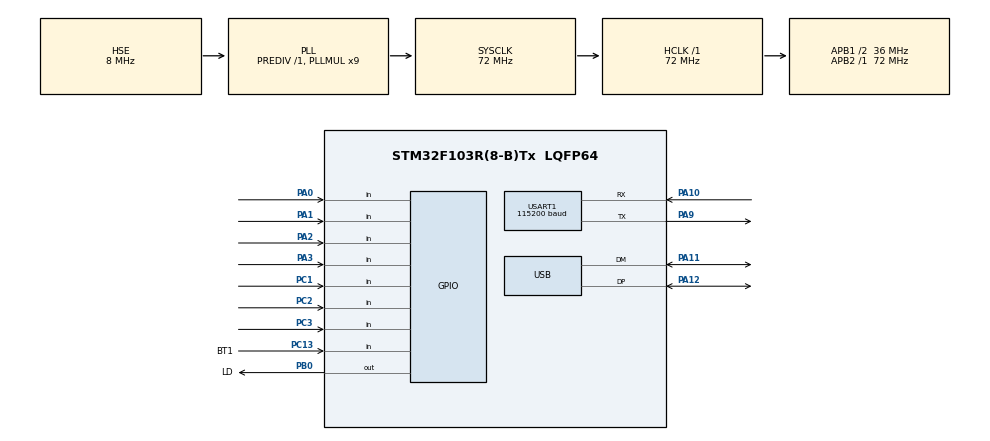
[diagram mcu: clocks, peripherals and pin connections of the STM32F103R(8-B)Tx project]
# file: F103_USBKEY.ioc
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Dma.Request0=USART1_RX
Dma.USART1_RX.0.Direction=DMA_PERIPH_TO_MEMORY
Dma.USART1_RX.0.Instance=DMA1_Channel5
Dma.USART1_RX.0.MemDataAlignment=DMA_MDATAALIGN_BYTE
Dma.USART1_RX.0.MemInc=DMA_MINC_ENABLE
Dma.USART1_RX.0.Mode=DMA_CIRCULAR
Dma.USART1_RX.0.PeriphDataAlignment=DMA_PDATAALIGN_BYTE
Dma.USART1_RX.0.PeriphInc=DMA_PINC_DISABLE
Dma.USART1_RX.0.Priority=DMA_PRIORITY_LOW
FREERTOS.Tasks01=defaultTask,-3,128,StartDefaultTask,Default;myTask02,-3,128,StartTask02,Default
Mcu.Family=STM32F1
Mcu.Name=STM32F103R(8-B)Tx
Mcu.Package=LQFP64
NVIC.DMA1_Channel5_IRQn=true\:5\:0\:false\:false\:true\:true
NVIC.PriorityGroup=NVIC_PRIORITYGROUP_4
NVIC.USB_LP_CAN1_RX0_IRQn=true\:0\:0\:false\:false\:true\:false
PA0-WKUP.Signal=GPIO_Input
PA1.Signal=GPIO_Input
PA10.Mode=Asynchronous
PA10.Signal=USART1_RX
PA11.Mode=Device
PA11.Signal=USB_DM
PA12.Mode=Device
PA12.Signal=USB_DP
PA13.Mode=JTAG_5_pins
PA13.Signal=SYS_JTMS-SWDIO
PA14.Mode=JTAG_5_pins
PA14.Signal=SYS_JTCK-SWCLK
PA15.Mode=JTAG_5_pins
PA15.Signal=SYS_JTDI
PA2.Signal=GPIO_Input
PA3.Signal=GPIO_Input
PA9.Mode=Asynchronous
PA9.Signal=USART1_TX
PB0.GPIO_Label=LD
PB0.Signal=GPIO_Output
PB3.Mode=JTAG_5_pins
PB3.Signal=SYS_JTDO-TRACESWO
PB4.Mode=JTAG_5_pins
PB4.Signal=SYS_NJTRST
PC1.Signal=GPIO_Input
PC13-TAMPER-RTC.GPIO_Label=BT1
PC13-TAMPER-RTC.Signal=GPIO_Input
PC2.Signal=GPIO_Input
PC3.Signal=GPIO_Input
PD0-OSC_IN.Mode=HSE-External-Oscillator
PD0-OSC_IN.Signal=RCC_OSC_IN
PD1-OSC_OUT.Mode=HSE-External-Oscillator
PD1-OSC_OUT.Signal=RCC_OSC_OUT
ProjectManager.HeapSize=0x200
ProjectManager.StackSize=0x400
ProjectManager.TargetToolchain=MDK-ARM V5
RCC.AHBFreq_Value=72000000
RCC.APB1CLKDivider=RCC_HCLK_DIV2
RCC.APB1Freq_Value=36000000
RCC.APB1TimFreq_Value=72000000
RCC.APB2Freq_Value=72000000
RCC.APB2TimFreq_Value=72000000
RCC.HCLKFreq_Value=72000000
RCC.HSIState=RCC_HSI_ON
RCC.PLLMUL=RCC_PLL_MUL9
RCC.SYSCLKFreq_VALUE=72000000
RCC.SYSCLKSource=RCC_SYSCLKSOURCE_PLLCLK
RCC.USBFreq_Value=48000000
RCC.USBPrescaler=RCC_USBCLKSOURCE_PLL_DIV1_5
USART1.BaudRate=115200
USB_DEVICE.PID_HID_FS=0x5710
USB_DEVICE.USBD_HandleTypeDef=hUsbDeviceFS
USB_DEVICE.VID=0x483
USB_DEVICE.VirtualMode=Hid
USB_DEVICE.VirtualModeFS=Hid_FS
VP_FREERTOS_VS_ENABLE.Mode=Enabled
VP_USB_DEVICE_VS_USB_DEVICE_HID_FS.Mode=HID_FS
board=F103_USBKEY

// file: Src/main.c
/**
  ******************************************************************************
  * File Name          : main.c
  * Description        : Main program body
  ******************************************************************************
  *
  * COPYRIGHT(c) 2016 STMicroelectronics
  *
  * Redistribution and use in source and binary forms, with or without modification,
  * are permitted provided that the following conditions are met:
  *   1. Redistributions of source code must retain the above copyright notice,
  *      this list of conditions and the following disclaimer.
  *   2. Redistributions in binary form must reproduce the above copyright notice,
  *      this list of conditions and the following disclaimer in the documentation
  *      and/or other materials provided with the distribution.
  *   3. Neither the name of STMicroelectronics nor the names of its contributors
  *      may be used to endorse or promote products derived from this software
  *      without specific prior written permission.
  *
  * THIS SOFTWARE IS PROVIDED BY THE COPYRIGHT HOLDERS AND CONTRIBUTORS "AS IS"
  * AND ANY EXPRESS OR IMPLIED WARRANTIES, INCLUDING, BUT NOT LIMITED TO, THE
  * IMPLIED WARRANTIES OF MERCHANTABILITY AND FITNESS FOR A PARTICULAR PURPOSE ARE
  * DISCLAIMED. IN NO EVENT SHALL THE COPYRIGHT HOLDER OR CONTRIBUTORS BE LIABLE
  * FOR ANY DIRECT, INDIRECT, INCIDENTAL, SPECIAL, EXEMPLARY, OR CONSEQUENTIAL
  * DAMAGES (INCLUDING, BUT NOT LIMITED TO, PROCUREMENT OF SUBSTITUTE GOODS OR
  * SERVICES; LOSS OF USE, DATA, OR PROFITS; OR BUSINESS INTERRUPTION) HOWEVER
  * CAUSED AND ON ANY THEORY OF LIABILITY, WHETHER IN CONTRACT, STRICT LIABILITY,
  * OR TORT (INCLUDING NEGLIGENCE OR OTHERWISE) ARISING IN ANY WAY OUT OF THE USE
  * OF THIS SOFTWARE, EVEN IF ADVISED OF THE POSSIBILITY OF SUCH DAMAGE.
  *
  ******************************************************************************
  */
#include "stm32f1xx_hal.h"
#include "cmsis_os.h"
#include "usb_device.h"

/* USER CODE BEGIN Includes */
#include "usbd_hid.h"
#include "stdio.h"
/* USER CODE END Includes */

UART_HandleTypeDef huart1;
DMA_HandleTypeDef hdma_usart1_rx;

osThreadId defaultTaskHandle;
osThreadId myTask02Handle;

/* USER CODE BEGIN PV */
/* Private variables ---------------------------------------------------------*/

/* USER CODE END PV */

void SystemClock_Config(void);
void Error_Handler(void);
static void MX_GPIO_Init(void);
static void MX_DMA_Init(void);
static void MX_USART1_UART_Init(void);
void StartDefaultTask(void const * argument);
void StartTask02(void const * argument);

/* USER CODE BEGIN PFP */
/* Private function prototypes -----------------------------------------------*/
#ifdef __GNUC__
#define PUTCHAR_PROTOTYPE int __io_putchar(int ch)
#else
#define PUTCHAR_PROTOTYPE int fputc(int ch, FILE *f)
#endif /* __GNUC__ */
PUTCHAR_PROTOTYPE
{
	  huart1.Instance->DR=(uint8_t )ch;
//	HAL_UART_Transmit(&huart1 , (uint8_t *)&ch, 1, 0xFFFF);
	osDelay(1);//等待1毫秒
	return ch;
}
/* USER CODE END PFP */

/* USER CODE BEGIN 0 */
uint8_t rx_buf[100]={0};//串口缓存
/* USER CODE END 0 */

int main(void)
{

  /* MCU Configuration----------------------------------------------------------*/

  /* Reset of all peripherals, Initializes the Flash interface and the Systick. */
  HAL_Init();

  /* Configure the system clock */
  SystemClock_Config();

  /* Initialize all configured peripherals */
  MX_GPIO_Init();
  MX_DMA_Init();
  MX_USART1_UART_Init();

  /* USER CODE BEGIN 2 */
	HAL_UART_Receive_DMA(&huart1,rx_buf,100);
  /* USER CODE END 2 */

  /* Create the thread(s) */
  /* definition and creation of defaultTask */
  osThreadDef(defaultTask, StartDefaultTask, osPriorityIdle, 0, 128);
  defaultTaskHandle = osThreadCreate(osThread(defaultTask), NULL);

  /* definition and creation of myTask02 */
  osThreadDef(myTask02, StartTask02, osPriorityIdle, 0, 128);
  myTask02Handle = osThreadCreate(osThread(myTask02), NULL);

  /* Start scheduler */
  osKernelStart();

  /* We should never get here as control is now taken by the scheduler */

  /* Infinite loop */
  while (1)
  {

  }

}

/** System Clock Configuration
*/
void SystemClock_Config(void)
{

  RCC_OscInitTypeDef RCC_OscInitStruct;
  RCC_ClkInitTypeDef RCC_ClkInitStruct;
  RCC_PeriphCLKInitTypeDef PeriphClkInit;

  RCC_OscInitStruct.OscillatorType = RCC_OSCILLATORTYPE_HSE;
  RCC_OscInitStruct.HSEState = RCC_HSE_ON;
  RCC_OscInitStruct.HSEPredivValue = RCC_HSE_PREDIV_DIV1;
  RCC_OscInitStruct.PLL.PLLState = RCC_PLL_ON;
  RCC_OscInitStruct.PLL.PLLSource = RCC_PLLSOURCE_HSE;
  RCC_OscInitStruct.PLL.PLLMUL = RCC_PLL_MUL9;
  if (HAL_RCC_OscConfig(&RCC_OscInitStruct) != HAL_OK)
  {
    Error_Handler();
  }

  RCC_ClkInitStruct.ClockType = RCC_CLOCKTYPE_HCLK|RCC_CLOCKTYPE_SYSCLK
                              |RCC_CLOCKTYPE_PCLK1|RCC_CLOCKTYPE_PCLK2;
  RCC_ClkInitStruct.SYSCLKSource = RCC_SYSCLKSOURCE_PLLCLK;
  RCC_ClkInitStruct.AHBCLKDivider = RCC_SYSCLK_DIV1;
  RCC_ClkInitStruct.APB1CLKDivider = RCC_HCLK_DIV2;
  RCC_ClkInitStruct.APB2CLKDivider = RCC_HCLK_DIV1;
  if (HAL_RCC_ClockConfig(&RCC_ClkInitStruct, FLASH_LATENCY_2) != HAL_OK)
  {
    Error_Handler();
  }

  PeriphClkInit.PeriphClockSelection = RCC_PERIPHCLK_USB;
  PeriphClkInit.UsbClockSelection = RCC_USBCLKSOURCE_PLL_DIV1_5;
  if (HAL_RCCEx_PeriphCLKConfig(&PeriphClkInit) != HAL_OK)
  {
    Error_Handler();
  }

  HAL_SYSTICK_Config(HAL_RCC_GetHCLKFreq()/1000);

  HAL_SYSTICK_CLKSourceConfig(SYSTICK_CLKSOURCE_HCLK);

  /* SysTick_IRQn interrupt configuration */
  HAL_NVIC_SetPriority(SysTick_IRQn, 15, 0);
}

/* USART1 init function */
static void MX_USART1_UART_Init(void)
{

  huart1.Instance = USART1;
  huart1.Init.BaudRate = 19200;
  huart1.Init.WordLength = UART_WORDLENGTH_8B;
  huart1.Init.StopBits = UART_STOPBITS_1;
  huart1.Init.Parity = UART_PARITY_NONE;
  huart1.Init.Mode = UART_MODE_TX_RX;
  huart1.Init.HwFlowCtl = UART_HWCONTROL_NONE;
  huart1.Init.OverSampling = UART_OVERSAMPLING_16;
  if (HAL_UART_Init(&huart1) != HAL_OK)
  {
    Error_Handler();
  }

}

static void MX_DMA_Init(void)
{
  /* DMA controller clock enable */
  __HAL_RCC_DMA1_CLK_ENABLE();

  /* DMA interrupt init */
  /* DMA1_Channel5_IRQn interrupt configuration */
  HAL_NVIC_SetPriority(DMA1_Channel5_IRQn, 5, 0);
  HAL_NVIC_EnableIRQ(DMA1_Channel5_IRQn);

}

/** Configure pins as
        * Analog
        * Input
        * Output
        * EVENT_OUT
        * EXTI
*/
static void MX_GPIO_Init(void)
{

  GPIO_InitTypeDef GPIO_InitStruct;

  /* GPIO Ports Clock Enable */
  __HAL_RCC_GPIOD_CLK_ENABLE();
  __HAL_RCC_GPIOC_CLK_ENABLE();
  __HAL_RCC_GPIOA_CLK_ENABLE();
  __HAL_RCC_GPIOB_CLK_ENABLE();

  /*Configure GPIO pin : BT1_Pin */
  GPIO_InitStruct.Pin = BT1_Pin;
  GPIO_InitStruct.Mode = GPIO_MODE_INPUT;
  GPIO_InitStruct.Pull = GPIO_PULLUP;
  HAL_GPIO_Init(BT1_GPIO_Port, &GPIO_InitStruct);

  /*Configure GPIO pins : PC1 PC2 PC3 */
  GPIO_InitStruct.Pin = GPIO_PIN_1|GPIO_PIN_2|GPIO_PIN_3;
  GPIO_InitStruct.Mode = GPIO_MODE_INPUT;
  GPIO_InitStruct.Pull = GPIO_NOPULL;
  HAL_GPIO_Init(GPIOC, &GPIO_InitStruct);

  /*Configure GPIO pins : PA0 PA1 PA2 PA3 */
  GPIO_InitStruct.Pin = GPIO_PIN_0|GPIO_PIN_1|GPIO_PIN_2|GPIO_PIN_3;
  GPIO_InitStruct.Mode = GPIO_MODE_INPUT;
  GPIO_InitStruct.Pull = GPIO_NOPULL;
  HAL_GPIO_Init(GPIOA, &GPIO_InitStruct);

  /*Configure GPIO pin : LD_Pin */
  GPIO_InitStruct.Pin = LD_Pin;
  GPIO_InitStruct.Mode = GPIO_MODE_OUTPUT_PP;
  GPIO_InitStruct.Speed = GPIO_SPEED_FREQ_LOW;
  HAL_GPIO_Init(LD_GPIO_Port, &GPIO_InitStruct);

  /*Configure GPIO pin Output Level */
  HAL_GPIO_WritePin(LD_GPIO_Port, LD_Pin, GPIO_PIN_RESET);

}

/* USER CODE BEGIN 4 */
//uint8_t HID_Buffer[8]={0, 0, 29+5,55,29+2,29+3,44,40};//{0, 0, 29+5,55,29+2,29+3,29+5,44}  //5.235空格
//
uint8_t HID_Buffer[8]={0};//{0, 0, 29+5,55,29+2,29+3,29+5,44}  //5.235空格
uint8_t HID_Buffer2[8]={0, 0, 0, 0,0,0,0,0};

void prtstr(float i)
{
	char str[20]={0};
	char j;
	sprintf(str,"%f",i);
	for (j=0;str[j];j++)
	{
		 switch (str[j])
		 {
				case '0': HID_Buffer[3]=29+10; break;
				case '1':
				case '2':
				case '3':
				case '4':
				case '5':
				case '6':
				case '7':
				case '8':
				case '9':HID_Buffer[3]=str[j]-'0'+29;
					break;
				case '.':HID_Buffer[3]=55;break;
				default : HID_Buffer[3]=0;break;
		 }
		 HID_Buffer[4]=HID_Buffer[5]=HID_Buffer[6]=HID_Buffer[7]=0;//清空其他值
		 USBD_HID_SendReport(&hUsbDeviceFS, HID_Buffer, 8);		//发送；
		 osDelay(20);
	//	USBD_HID_SendReport(&hUsbDeviceFS, HID_Buffer2, 8);
	//	osDelay(20);
	}
	HID_Buffer[3]=44;
	USBD_HID_SendReport(&hUsbDeviceFS, HID_Buffer, 8);		//发送；
	osDelay(20);
//	USBD_HID_SendReport(&hUsbDeviceFS, HID_Buffer2, 8);
//	osDelay(20);

	HID_Buffer[3]=40;
	USBD_HID_SendReport(&hUsbDeviceFS, HID_Buffer, 8);		//发送；
	osDelay(20);
	USBD_HID_SendReport(&hUsbDeviceFS, HID_Buffer2, 8);
	osDelay(20);
}

/* USER CODE END 4 */

/* StartDefaultTask function */
void StartDefaultTask(void const * argument)
{
  /* init code for USB_DEVICE */
  MX_USB_DEVICE_Init();

  /* USER CODE BEGIN 5 */
  /* Infinite loop */
  for(;;)
  {
		HAL_GPIO_TogglePin(LD_GPIO_Port,LD_Pin);
    osDelay(1000);
		printf("D");

  }
  /* USER CODE END 5 */
}

/* StartTask02 function */
void StartTask02(void const * argument)
{
  /* USER CODE BEGIN StartTask02 */
	static uint16_t key_time;
	float k=0;
  /* Infinite loop */
  for(;;)
  {
		if(HAL_GPIO_ReadPin(BT1_GPIO_Port,BT1_Pin)==GPIO_PIN_RESET)
		{
				key_time++;
				if(key_time==2)
				{
					prtstr(k);
					k+=0.1;
				}
		}
		else
			key_time=0;

    osDelay(10);

  }
  /* USER CODE END StartTask02 */
}

void Error_Handler(void)
{
  while(1)
  {
  }
}

/************************ (C) COPYRIGHT STMicroelectronics *****END OF FILE****/
